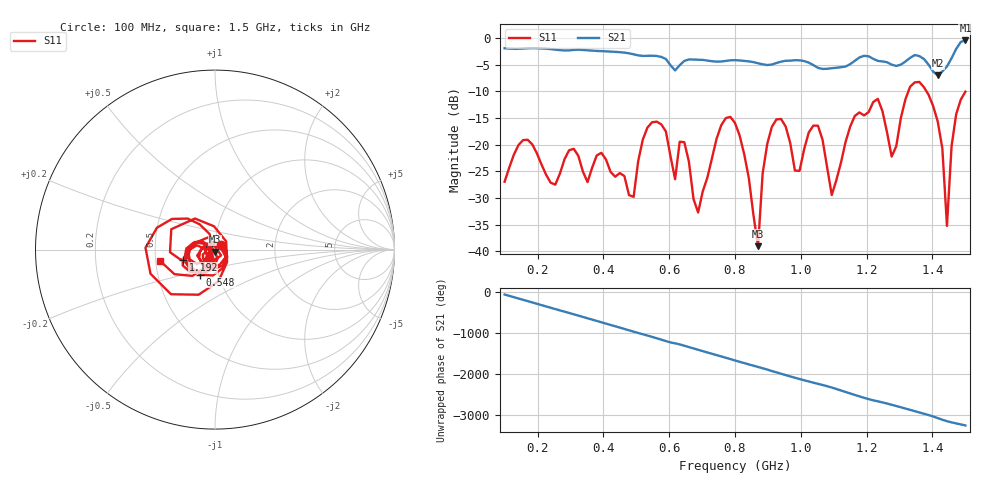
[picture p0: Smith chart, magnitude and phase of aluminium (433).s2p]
! NanoVNA-App
! Date: 2025-09-25 14:58:39
! Start: 100MHz Stop: 1,5GHz Points: 101
! S-Parameter data: F S11 S21 S12 S22
# Hz S RI R 50
!  Frequency  S11_Real  S11_Imag  S21_Real  S21_Imag  S12_Real  S12_Imag  S22_Real  S22_Imag
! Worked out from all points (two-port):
!   101 points, 100 MHz to 1.5 GHz, reference 50 ohm
!   highest |S21| = -0.46 dB at 1.5 GHz (marker M1); lowest = -7.0 dB at 1.416 GHz (marker M2)
!   |S21| within 3 dB of the highest: start of sweep to 569.4 MHz; 1.461 GHz to end of sweep (the widest 2 of 4)
!   lowest |S11| = -39.0 dB at 870 MHz (marker M3), VSWR 1.02, Z = 50.2 - j1.11 ohm
!   |S11| at or under -10 dB: start of sweep to 1.327 GHz; 1.382 GHz to end of sweep
!   S12 and S22 are empty: the file has one direction only
!   S11 on the Smith chart (normalised r, x): 100 MHz: 1.07, +0.06; 548 MHz: 0.82, -0.23; 1.192 GHz: 0.69, -0.08; 1.5 GHz: 0.53, -0.07
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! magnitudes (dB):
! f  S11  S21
! 100 MHz  -27.0  -1.9
! 156 MHz  -19.2  -2.0
! 338 MHz  -25.1  -2.2
! 492 MHz  -29.8  -3.1
! 548 MHz  -15.8  -3.3
! 576 MHz  -16.2  -3.5
! 618 MHz  -26.5  -6.1
! 646 MHz  -19.5  -4.3
! 688 MHz  -32.7  -4.1
! 800 MHz  -15.9  -4.2
! 870 MHz  -39.0  -4.7
! 912 MHz  -16.7  -5.0
! 996 MHz  -24.9  -4.2
! 1.038 GHz  -16.4  -5.1
! 1.094 GHz  -29.4  -5.7
! 1.192 GHz  -14.5  -3.3
! 1.276 GHz  -22.2  -5.0
! 1.346 GHz  -8.3  -3.2
! 1.416 GHz  -15.7  -7.0
! 1.444 GHz  -35.2  -5.3
! 1.458 GHz  -20.3  -3.8
! 1.5 GHz  -10.1  -0.5
